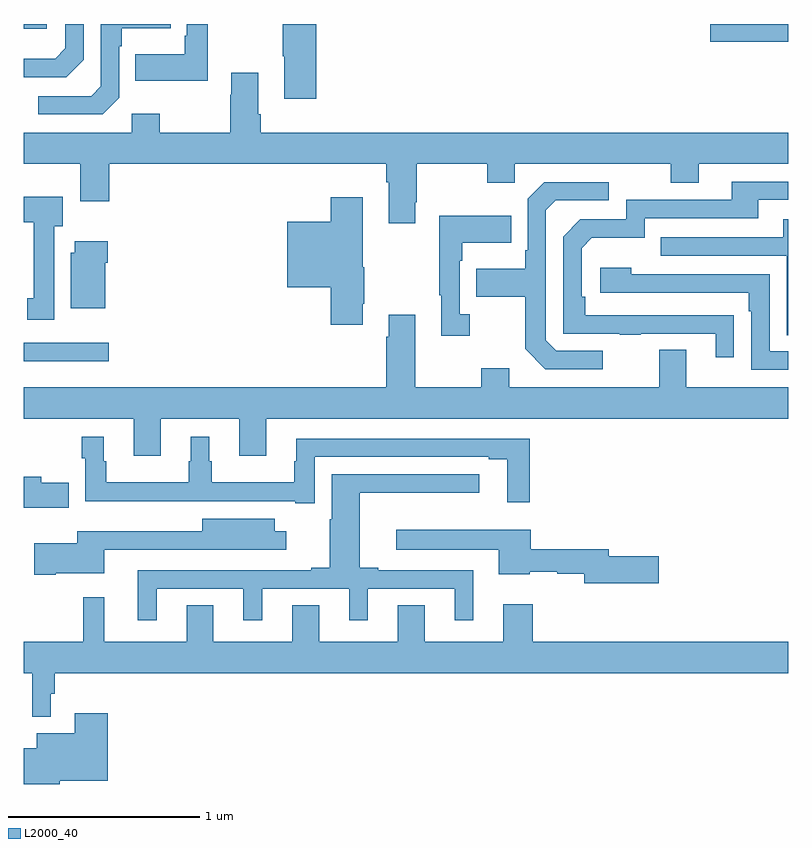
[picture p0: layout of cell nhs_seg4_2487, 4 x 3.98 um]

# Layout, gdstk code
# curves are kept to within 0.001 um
import gdstk
lib = gdstk.Library(unit=1e-6, precision=1e-09)
def R(c, l, rs):  # rectangles x0, y0, x1, y1
    for r in rs: c.add(gdstk.rectangle(r[:2], r[2:], *l))
def P(c, l, *ps):  # polygons
    for p in ps: c.add(gdstk.Polygon(p, *l))
L2000_40 = (2000, 40)

nhs_seg4_2487 = lib.new_cell('nhs_seg4_2487')
R(nhs_seg4_2487, L2000_40, [(241,781.136,241.444,781.233), (244.59,782.806,245,782.9), (241,782.876,241.12,782.9)])
P(nhs_seg4_2487, L2000_40, [(241.5,782.514),(241.5,782.783),(241.513,782.783),(241.513,782.879),(241.769,782.879),(241.769,782.9),(241.404,782.9),(241.404,782.574),(241.353,782.523),(241.077,782.523),(241.077,782.427),(241.413,782.427)],
  [(241.963,782.9),(241.854,782.9),(241.854,782.839),(241.842,782.839),(241.842,782.743),(241.585,782.743),(241.585,782.603),(241.963,782.603)],
  [(242.531,782.9),(242.356,782.9),(242.356,782.731),(242.363,782.731),(242.363,782.508),(242.531,782.508)],
  [(241.314,782.712),(241.314,782.9),(241.218,782.9),(241.218,782.772),(241.165,782.719),(241,782.719),(241,782.622),(241.224,782.622)],
  [(243.049,781.969),(243.057,781.969),(243.057,782.168),(243.424,782.168),(243.424,782.069),(243.57,782.069),(243.57,782.168),(244.384,782.168),(244.384,782.069),(244.531,782.069),(244.531,782.168),(245,782.168),(245,782.332),(242.24,782.332),(242.24,782.428),(242.227,782.428),(242.227,782.644),(242.087,782.644),(242.087,782.531),(242.08,782.531),(242.08,782.332),(241.713,782.332),(241.713,782.431),(241.566,782.431),(241.566,782.332),(241,782.332),(241,782.168),(241.295,782.168),(241.295,781.974),(241.448,781.974),(241.448,782.168),(242.897,782.168),(242.897,782.072),(242.909,782.072),(242.909,781.857),(243.049,781.857)],
  [(244.715,781.376),(243.938,781.377),(243.938,781.474),(243.918,781.474),(243.918,781.728),(243.971,781.781),(244.248,781.781),(244.248,781.884),(244.843,781.884),(244.843,781.98),(245,781.98),(245,782.076),(244.703,782.076),(244.703,781.98),(244.152,781.98),(244.152,781.878),(243.912,781.878),(243.822,781.788),(243.822,781.281),(244.117,781.281),(244.117,781.276),(244.229,781.276),(244.229,781.281),(244.619,781.281),(244.619,781.158),(244.715,781.158)],
  [(244.03,781.191),(243.786,781.191),(243.732,781.245),(243.732,781.926),(243.783,781.977),(244.06,781.977),(244.06,782.073),(243.723,782.073),(243.636,781.986),(243.636,781.717),(243.624,781.717),(243.624,781.621),(243.367,781.621),(243.367,781.474),(243.624,781.474),(243.624,781.201),(243.729,781.095),(244.03,781.095)],
  [(241.159,781.842),(241.204,781.842),(241.204,781.996),(241,781.996),(241,781.862),(241.052,781.862),(241.052,781.466),(241.019,781.466),(241.019,781.353),(241.159,781.353)],
  [(242.773,781.438),(242.781,781.438),(242.781,781.627),(242.773,781.627),(242.773,781.993),(242.606,781.993),(242.606,781.867),(242.378,781.867),(242.378,781.523),(242.606,781.523),(242.606,781.326),(242.773,781.326)],
  [(243.334,781.382),(243.282,781.382),(243.282,781.661),(243.295,781.661),(243.295,781.757),(243.551,781.757),(243.551,781.897),(243.174,781.897),(243.174,781.481),(243.185,781.481),(243.185,781.269),(243.334,781.269)],
  [(245,781.879),(244.973,781.879),(244.973,781.785),(244.333,781.785),(244.333,781.689),(244.992,781.689),(244.992,781.273),(245,781.273)],
  [(241.426,781.652),(241.439,781.652),(241.439,781.765),(241.268,781.765),(241.268,781.704),(241.247,781.704),(241.247,781.412),(241.426,781.412)],
  [(245,781.188),(244.902,781.188),(244.902,781.59),(244.178,781.59),(244.178,781.624),(244.017,781.624),(244.017,781.494),(244.793,781.494),(244.793,781.397),(244.806,781.397),(244.806,781.092),(245,781.092)],
  [(241.717,780.836),(242.129,780.836),(242.129,780.642),(242.269,780.642),(242.269,780.836),(245,780.836),(245,781),(244.465,781),(244.465,781.195),(244.325,781.195),(244.325,781),(243.541,781),(243.541,781.099),(243.394,781.099),(243.394,781),(243.049,781),(243.049,781.378),(242.909,781.378),(242.909,781.265),(242.897,781.265),(242.897,781),(241,781),(241,780.836),(241.577,780.836),(241.577,780.642),(241.717,780.642)],
  [(242.523,780.636),(243.434,780.636),(243.434,780.624),(243.53,780.624),(243.53,780.399),(243.647,780.399),(243.647,780.732),(242.426,780.732),(242.426,780.614),(242.415,780.614),(242.415,780.502),(241.984,780.502),(241.984,780.614),(241.972,780.614),(241.972,780.742),(241.874,780.742),(241.874,780.614),(241.863,780.614),(241.863,780.502),(241.432,780.502),(241.432,780.614),(241.42,780.614),(241.42,780.742),(241.303,780.742),(241.303,780.629),(241.323,780.629),(241.323,780.404),(241.868,780.404),(241.868,780.405),(242.42,780.405),(242.42,780.393),(242.523,780.393)],
  [(241.696,779.946),(242.15,779.946),(242.15,779.781),(242.248,779.781),(242.248,779.946),(242.702,779.946),(242.702,779.781),(242.8,779.781),(242.8,779.946),(243.254,779.946),(243.254,779.781),(243.352,779.781),(243.352,780.042),(242.854,780.042),(242.854,780.055),(242.758,780.055),(242.758,780.449),(243.382,780.449),(243.382,780.546),(242.612,780.546),(242.612,780.309),(242.6,780.309),(242.6,780.055),(242.504,780.055),(242.504,780.042),(241.598,780.042),(241.598,779.781),(241.696,779.781)],
  [(241.237,780.501),(241.093,780.501),(241.093,780.531),(241,780.531),(241,780.371),(241.237,780.371)],
  [(241.168,780.026),(241.423,780.026),(241.423,780.15),(242.038,780.15),(242.038,780.149),(242.374,780.149),(242.374,780.247),(242.314,780.247),(242.314,780.313),(241.934,780.313),(241.934,780.247),(241.28,780.247),(241.28,780.184),(241.056,780.184),(241.056,780.019),(241.168,780.019)],
  [(244.321,780.116),(244.06,780.116),(244.06,780.152),(243.652,780.152),(243.652,780.256),(242.949,780.256),(242.949,780.149),(243.485,780.149),(243.485,780.023),(243.648,780.023),(243.648,780.035),(243.792,780.035),(243.792,780.024),(243.932,780.024),(243.932,779.974),(244.321,779.974)],
  [(241.143,779.397),(241.163,779.397),(241.163,779.504),(245,779.504),(245,779.668),(243.662,779.668),(243.662,779.866),(243.509,779.866),(243.509,779.668),(243.097,779.668),(243.097,779.861),(242.957,779.861),(242.957,779.668),(242.545,779.668),(242.545,779.861),(242.405,779.861),(242.405,779.668),(241.993,779.668),(241.993,779.861),(241.853,779.861),(241.853,779.668),(241.421,779.668),(241.421,779.902),(241.311,779.902),(241.311,779.668),(241,779.668),(241,779.504),(241.046,779.504),(241.046,779.276),(241.143,779.276)],
  [(241.188,778.943),(241.439,778.943),(241.439,779.296),(241.268,779.296),(241.268,779.191),(241.07,779.191),(241.07,779.113),(241,779.113),(241,778.925),(241.188,778.925)])

lib.write_gds('nhs_seg4_2487.gds')
